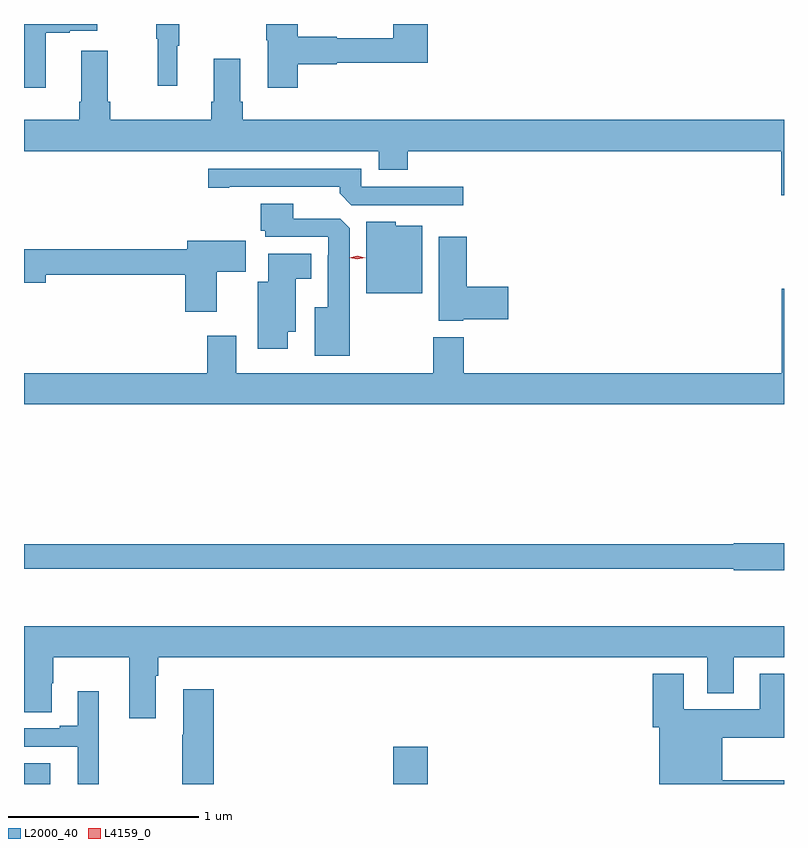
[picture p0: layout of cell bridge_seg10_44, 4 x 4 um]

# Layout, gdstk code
import gdstk
lib = gdstk.Library(unit=1e-6, precision=1e-09)
def R(c, l, rs):  # rectangles x0, y0, x1, y1
    for r in rs: c.add(gdstk.rectangle(r[:2], r[2:], *l))
def P(c, l, *ps):  # polygons
    for p in ps: c.add(gdstk.Polygon(p, *l))
L2000_40 = (2000, 40)
L4159_0 = (4159, 0)

bridge_seg10_44 = lib.new_cell('bridge_seg10_44')
R(bridge_seg10_44, L2000_40, [(890.217,1266.349,890.356,1266.457), (892.16,1266.349,892.343,1266.544)])
P(bridge_seg10_44, L2000_40, [(891.659,1270.138),(891.864,1270.138),(891.864,1270.146),(892.343,1270.146),(892.343,1270.349),(892.16,1270.349),(892.16,1270.274),(891.864,1270.274),(891.864,1270.282),(891.659,1270.282),(891.659,1270.349),(891.493,1270.349),(891.493,1270.263),(891.5,1270.263),(891.5,1270.014),(891.659,1270.014)],
  [(890.332,1270.303),(890.459,1270.303),(890.459,1270.313),(890.602,1270.313),(890.602,1270.349),(890.217,1270.349),(890.217,1270.014),(890.332,1270.014)],
  [(891.023,1270.235),(891.034,1270.235),(891.034,1270.349),(890.913,1270.349),(890.913,1270.272),(890.92,1270.272),(890.92,1270.023),(891.023,1270.023)],
  [(894.217,1269.844),(891.368,1269.844),(891.368,1269.94),(891.355,1269.94),(891.355,1270.165),(891.215,1270.165),(891.215,1269.94),(891.203,1269.94),(891.203,1269.844),(890.672,1269.844),(890.672,1269.94),(890.659,1269.94),(890.659,1270.207),(890.519,1270.207),(890.519,1269.94),(890.507,1269.94),(890.507,1269.844),(890.217,1269.844),(890.217,1269.68),(892.085,1269.68),(892.085,1269.581),(892.238,1269.581),(892.238,1269.68),(894.203,1269.68),(894.203,1269.447),(894.217,1269.447)],
  [(892.528,1269.492),(891.993,1269.492),(891.993,1269.588),(891.186,1269.588),(891.186,1269.487),(891.298,1269.487),(891.298,1269.492),(891.878,1269.492),(891.878,1269.458),(891.939,1269.396),(892.528,1269.396)],
  [(891.931,1269.275),(891.882,1269.324),(891.634,1269.324),(891.634,1269.403),(891.464,1269.403),(891.464,1269.261),(891.488,1269.261),(891.488,1269.228),(891.819,1269.228),(891.819,1269.131),(891.815,1269.131),(891.815,1268.857),(891.746,1268.857),(891.746,1268.603),(891.931,1268.603)],
  [(892.312,1269.286),(892.173,1269.286),(892.173,1269.307),(892.019,1269.307),(892.019,1268.933),(892.312,1268.933)],
  [(892.53,1268.795),(892.765,1268.795),(892.765,1268.966),(892.547,1268.966),(892.547,1269.229),(892.4,1269.229),(892.4,1268.786),(892.53,1268.786)],
  [(891.232,1269.046),(891.385,1269.046),(891.385,1269.208),(891.077,1269.208),(891.077,1269.164),(890.217,1269.164),(890.217,1268.986),(890.332,1268.986),(890.332,1269.028),(891.065,1269.028),(891.065,1268.835),(891.232,1268.835)],
  [(891.604,1268.729),(891.646,1268.729),(891.646,1269.008),(891.73,1269.008),(891.73,1269.139),(891.503,1269.139),(891.503,1268.992),(891.446,1268.992),(891.446,1268.64),(891.604,1268.64)],
  [(894.217,1268.956),(894.206,1268.956),(894.206,1268.512),(892.532,1268.512),(892.532,1268.701),(892.372,1268.701),(892.372,1268.512),(891.334,1268.512),(891.334,1268.707),(891.182,1268.707),(891.182,1268.512),(890.217,1268.512),(890.217,1268.348),(894.217,1268.348)],
  [(894.217,1267.616),(893.952,1267.616),(893.952,1267.61),(890.217,1267.61),(890.217,1267.482),(893.952,1267.482),(893.952,1267.474),(894.217,1267.474)],
  [(890.911,1266.92),(890.924,1266.92),(890.924,1267.016),(893.813,1267.016),(893.813,1266.827),(893.953,1266.827),(893.953,1267.016),(894.217,1267.016),(894.217,1267.18),(890.217,1267.18),(890.217,1266.727),(890.362,1266.727),(890.362,1266.878),(890.37,1266.878),(890.37,1267.016),(890.771,1267.016),(890.771,1266.696),(890.911,1266.696)],
  [(894.217,1266.37),(893.893,1266.37),(893.893,1266.593),(894.217,1266.593),(894.217,1266.928),(894.089,1266.928),(894.089,1266.742),(893.689,1266.742),(893.689,1266.928),(893.525,1266.928),(893.525,1266.648),(893.561,1266.648),(893.561,1266.349),(894.217,1266.349)],
  [(891.215,1266.847),(891.056,1266.847),(891.056,1266.608),(891.049,1266.608),(891.049,1266.349),(891.215,1266.349)],
  [(890.611,1266.838),(890.501,1266.838),(890.501,1266.655),(890.405,1266.655),(890.405,1266.642),(890.217,1266.642),(890.217,1266.546),(890.501,1266.546),(890.501,1266.349),(890.611,1266.349)])
P(bridge_seg10_44, L4159_0, [(891.971,1269.11),(891.93,1269.119),(891.93,1269.119),(891.93,1269.12),(891.971,1269.13),(892.012,1269.12),(892.012,1269.12),(892.012,1269.12)])

lib.write_gds('bridge_seg10_44.gds')
